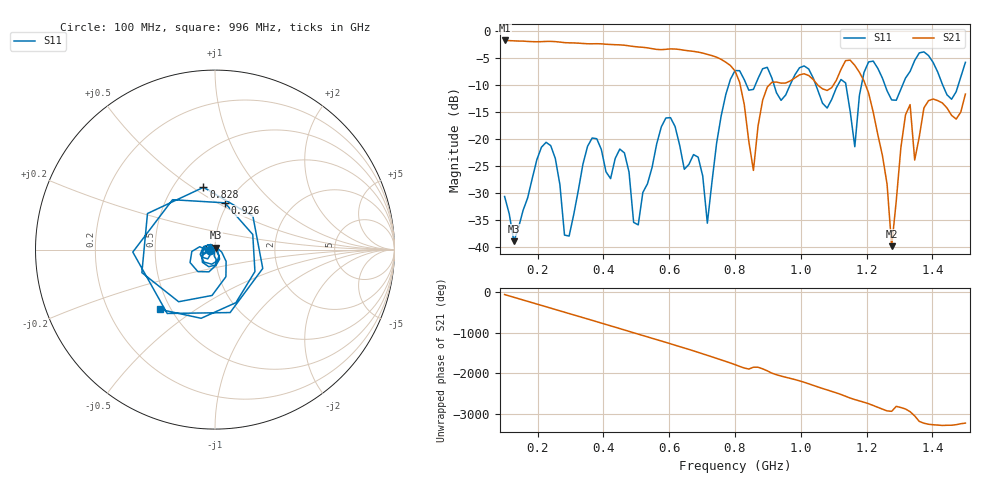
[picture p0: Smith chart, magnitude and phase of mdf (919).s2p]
! NanoVNA-App
! Date: 2025-09-25 15:45:34
! Start: 100MHz Stop: 1,5GHz Points: 101
! S-Parameter data: F S11 S21 S12 S22
# Hz S RI R 50
!  Frequency  S11_Real  S11_Imag  S21_Real  S21_Imag  S12_Real  S12_Imag  S22_Real  S22_Imag
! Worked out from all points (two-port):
!   101 points, 100 MHz to 1.5 GHz, reference 50 ohm
!   highest |S21| = -1.80 dB at 100 MHz (marker M1); lowest = -39.9 dB at 1.276 GHz (marker M2)
!   |S21| within 3 dB of the highest: start of sweep to 739.4 MHz
!   lowest |S11| = -39.0 dB at 128 MHz (marker M3), VSWR 1.02, Z = 50.3 + j1.08 ohm
!   |S11| at or under -10 dB: start of sweep to 781.1 MHz; 1.045 GHz to 1.113 GHz (67.94 MHz wide, 6.3 % of centre); 1.255 GHz to 1.31 GHz (54.45 MHz wide, 4.25 % of centre) (the widest 3 of 7)
!   S12 and S22 are empty: the file has one direction only
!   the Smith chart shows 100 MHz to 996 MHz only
!   S11 on the Smith chart (normalised r, x): 100 MHz: 0.94, -0.01; 828 MHz: 0.70, +0.55; 926 MHz: 0.97, +0.54; 996 MHz: 0.44, -0.36
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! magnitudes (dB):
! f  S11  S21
! 100 MHz  -30.7  -1.8
! 128 MHz  -39.0  -1.9
! 212 MHz  -21.6  -2.0
! 282 MHz  -37.9  -2.2
! 338 MHz  -24.7  -2.4
! 464 MHz  -22.6  -2.7
! 506 MHz  -36.0  -3.0
! 576 MHz  -17.8  -3.5
! 716 MHz  -35.7  -4.4
! 800 MHz  -7.4  -7.4
! 828 MHz  -9.0  -13.6
! 856 MHz  -10.9  -25.9
! 926 MHz  -11.5  -9.5
! 996 MHz  -6.9  -8.2
! 1.038 GHz  -8.8  -9.1
! 1.136 GHz  -9.7  -5.5
! 1.164 GHz  -21.5  -6.4
! 1.192 GHz  -7.7  -9.3
! 1.276 GHz  -12.8  -39.9
! 1.332 GHz  -7.5  -13.7
! 1.346 GHz  -5.5  -24.0
! 1.5 GHz  -5.9  -11.7
